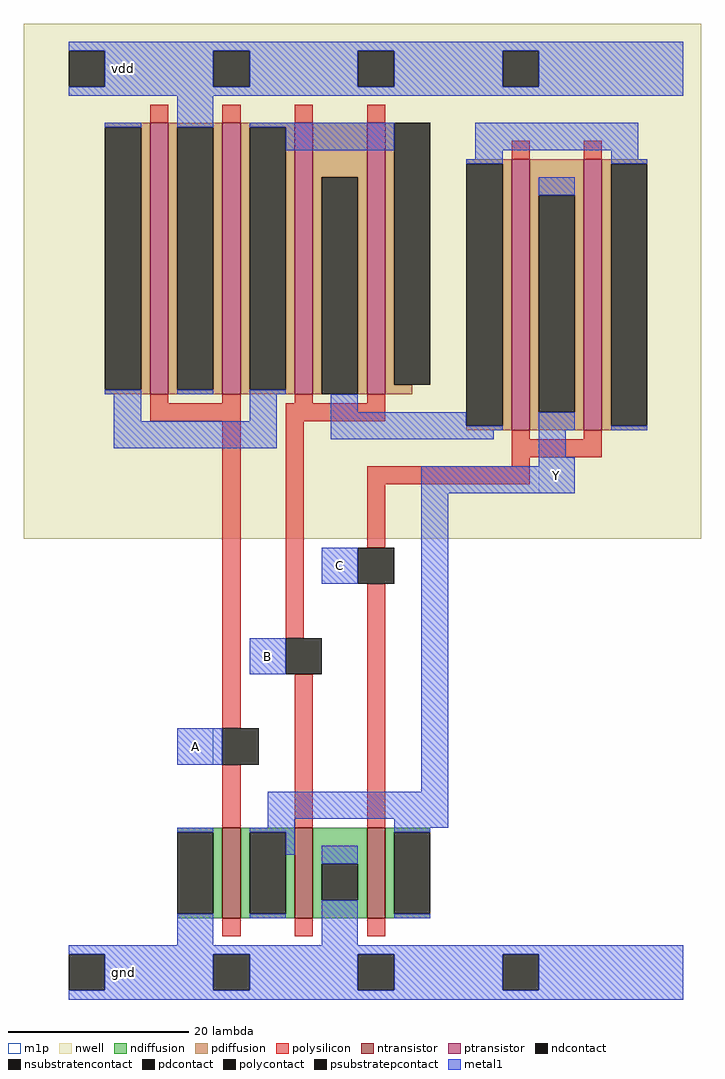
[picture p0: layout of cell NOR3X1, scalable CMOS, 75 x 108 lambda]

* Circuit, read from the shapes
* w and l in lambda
.subckt NOR3X1 A B C Y vdd gnd
M1 Y A gnd gnd nfet w=10 l=2
M2 gnd B Y gnd nfet w=10 l=2
M3 Y C gnd gnd nfet w=10 l=2
M4 vdd A n1 vdd pfet w=30 l=2 m=2
M5 n2 B n1 vdd pfet w=30 l=2 m=2
M6 Y C n2 vdd pfet w=30 l=2 m=2
.ends

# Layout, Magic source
magic
tech scmos
magscale 1 2
<< nwell >>
rect -14 96 136 210
<< ntransistor >>
rect 30 12 34 32
rect 46 12 50 32
rect 62 12 66 32
<< ptransistor >>
rect 14 128 18 188
rect 30 128 34 188
rect 46 128 50 188
rect 62 128 66 188
rect 94 120 98 180
rect 110 120 114 180
<< ndiffusion >>
rect 20 31 30 32
rect 28 13 30 31
rect 20 12 30 13
rect 34 31 46 32
rect 34 13 36 31
rect 44 13 46 31
rect 34 12 46 13
rect 50 24 62 32
rect 50 16 52 24
rect 60 16 62 24
rect 50 12 62 16
rect 66 31 76 32
rect 66 13 68 31
rect 66 12 76 13
<< pdiffusion >>
rect 4 187 14 188
rect 12 129 14 187
rect 4 128 14 129
rect 18 187 30 188
rect 18 129 20 187
rect 28 129 30 187
rect 18 128 30 129
rect 34 187 46 188
rect 34 129 36 187
rect 44 129 46 187
rect 34 128 46 129
rect 50 176 62 188
rect 50 128 52 176
rect 60 128 62 176
rect 66 130 68 188
rect 84 179 94 180
rect 66 128 72 130
rect 92 121 94 179
rect 84 120 94 121
rect 98 172 110 180
rect 98 124 100 172
rect 108 124 110 172
rect 98 120 110 124
rect 114 179 124 180
rect 114 121 116 179
rect 114 120 124 121
<< ndcontact >>
rect 20 13 28 31
rect 36 13 44 31
rect 52 16 60 24
rect 68 13 76 31
<< pdcontact >>
rect 4 129 12 187
rect 20 129 28 187
rect 36 129 44 187
rect 52 128 60 176
rect 68 130 76 188
rect 84 121 92 179
rect 100 124 108 172
rect 116 121 124 179
<< psubstratepcontact >>
rect -4 -4 4 4
rect 28 -4 36 4
rect 60 -4 68 4
rect 92 -4 100 4
<< nsubstratencontact >>
rect -4 196 4 204
rect 28 196 36 204
rect 60 196 68 204
rect 92 196 100 204
<< polysilicon >>
rect 14 188 18 192
rect 30 188 34 192
rect 46 188 50 192
rect 62 188 66 192
rect 94 180 98 184
rect 110 180 114 184
rect 14 126 18 128
rect 30 126 34 128
rect 46 126 50 128
rect 62 126 66 128
rect 14 122 34 126
rect 30 54 34 122
rect 44 122 66 126
rect 44 74 48 122
rect 94 118 98 120
rect 110 118 114 120
rect 94 114 114 118
rect 94 112 98 114
rect 62 108 98 112
rect 62 94 66 108
rect 30 32 34 46
rect 46 32 50 66
rect 62 32 66 86
rect 30 8 34 12
rect 46 8 50 12
rect 62 8 66 12
<< polycontact >>
rect 60 86 68 94
rect 44 66 52 74
rect 30 46 38 54
<< metal1 >>
rect -4 204 132 206
rect 4 196 28 204
rect 36 196 60 204
rect 68 196 92 204
rect 100 196 132 204
rect -4 194 132 196
rect 4 187 12 188
rect 4 128 12 129
rect 20 187 28 194
rect 20 128 28 129
rect 36 187 68 188
rect 44 182 68 187
rect 36 128 44 129
rect 86 182 122 188
rect 86 180 92 182
rect 84 179 92 180
rect 6 122 12 128
rect 36 122 42 128
rect 6 116 42 122
rect 54 124 60 128
rect 54 121 84 124
rect 116 180 122 182
rect 116 179 124 180
rect 54 120 92 121
rect 100 172 108 176
rect 100 120 108 124
rect 116 120 124 121
rect 54 118 90 120
rect 100 114 106 120
rect 100 112 108 114
rect 74 106 108 112
rect 52 86 60 94
rect 36 66 44 74
rect 20 46 30 54
rect 74 40 80 106
rect 40 34 80 40
rect 40 32 46 34
rect 20 31 28 32
rect 20 6 28 13
rect 36 31 46 32
rect 44 26 46 31
rect 68 32 80 34
rect 68 31 76 32
rect 36 12 44 13
rect 52 24 60 28
rect 52 6 60 16
rect 68 12 76 13
rect -4 4 132 6
rect 4 -4 28 4
rect 36 -4 60 4
rect 68 -4 92 4
rect 100 -4 132 4
rect -4 -6 132 -4
<< m1p >>
rect 100 106 108 114
rect 52 86 60 94
rect 36 66 44 74
rect 20 46 28 54
<< labels >>
rlabel metal1 8 200 8 200 4 vdd
port 5 se
rlabel metal1 8 0 8 0 4 gnd
port 6 se
rlabel metal1 40 70 40 70 4 B
port 2 se
rlabel metal1 56 90 56 90 4 C
port 3 se
rlabel metal1 24 50 24 50 4 A
port 1 se
rlabel metal1 104 110 104 110 4 Y
port 4 se
<< end >>
